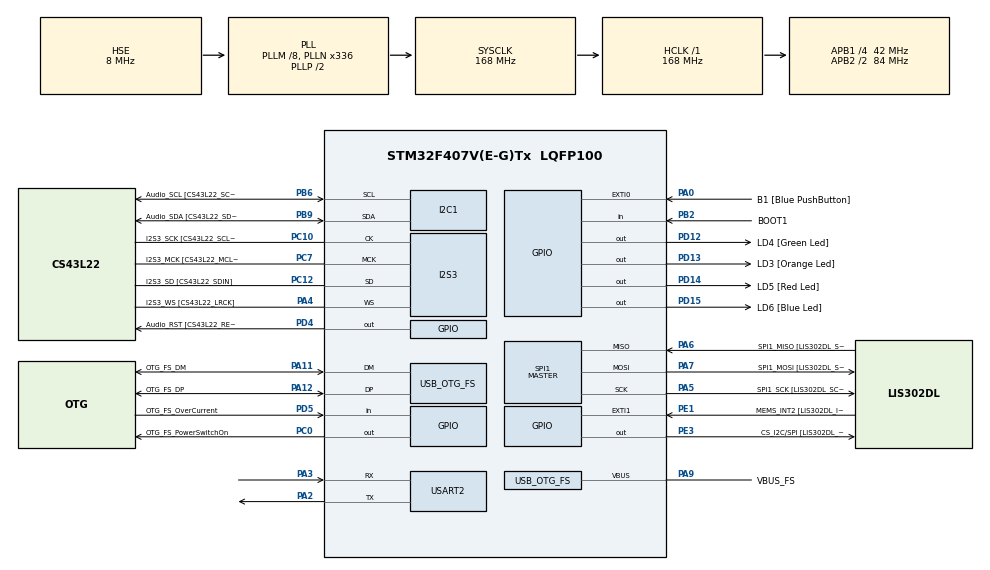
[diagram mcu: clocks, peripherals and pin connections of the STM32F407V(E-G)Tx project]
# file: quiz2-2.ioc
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FREERTOS.Tasks01=defaultTask,0,128,StartDefaultTask,Default,NULL
I2S3.AudioFreq-Half_Duplex_Master=I2S_AUDIOFREQ_96K
I2S3.ErrorAudioFreq=-2.34 %
I2S3.ErrorAudioFreq-Half_Duplex_Master=0.8 %
I2S3.FullDuplexMode=I2S_FULLDUPLEXMODE_DISABLE
I2S3.Instance=SPI$Index
I2S3.RealAudioFreq=93.75 KHz
I2S3.RealAudioFreq-Half_Duplex_Master=96.774 KHz
I2S3.VirtualMode=I2S_MODE_MASTER
Mcu.Family=STM32F4
Mcu.Name=STM32F407V(E-G)Tx
Mcu.Package=LQFP100
NVIC.OTG_FS_IRQn=true\:5\:0\:false\:false\:true\:true\:true\:true
NVIC.PriorityGroup=NVIC_PRIORITYGROUP_4
PA0-WKUP.GPIO_Label=B1 [Blue PushButton]
PA0-WKUP.GPIO_ModeDefaultEXTI=GPIO_MODE_EVT_RISING
PA0-WKUP.GPIO_PuPd=GPIO_NOPULL
PA0-WKUP.Signal=GPXTI0
PA10.GPIO_Label=OTG_FS_ID
PA10.GPIO_Mode=GPIO_MODE_AF_PP
PA10.GPIO_PuPd=GPIO_NOPULL
PA10.GPIO_Speed=GPIO_SPEED_FREQ_LOW
PA10.Signal=USB_OTG_FS_ID
PA11.GPIO_Label=OTG_FS_DM
PA11.GPIO_Mode=GPIO_MODE_AF_PP
PA11.GPIO_PuPd=GPIO_NOPULL
PA11.GPIO_Speed=GPIO_SPEED_FREQ_LOW
PA11.Mode=Host_Only
PA11.Signal=USB_OTG_FS_DM
PA12.GPIO_Label=OTG_FS_DP
PA12.GPIO_Mode=GPIO_MODE_AF_PP
PA12.GPIO_PuPd=GPIO_NOPULL
PA12.GPIO_Speed=GPIO_SPEED_FREQ_LOW
PA12.Mode=Host_Only
PA12.Signal=USB_OTG_FS_DP
PA13.GPIO_Label=SWDIO
PA13.Mode=Serial_Wire
PA13.Signal=SYS_JTMS-SWDIO
PA14.GPIO_Label=SWCLK
PA14.Mode=Serial_Wire
PA14.Signal=SYS_JTCK-SWCLK
PA2.Mode=Asynchronous
PA2.Signal=USART2_TX
PA3.Mode=Asynchronous
PA3.Signal=USART2_RX
PA4.GPIO_Label=I2S3_WS [CS43L22_LRCK]
PA4.GPIO_Mode=GPIO_MODE_AF_PP
PA4.GPIO_PuPd=GPIO_NOPULL
PA4.GPIO_Speed=GPIO_SPEED_FREQ_LOW
PA4.Mode=Half_Duplex_Master
PA4.Signal=I2S3_WS
PA5.GPIO_Label=SPI1_SCK [LIS302DL_SCL/SPC]
PA5.GPIO_Mode=GPIO_MODE_AF_PP
PA5.GPIO_PuPd=GPIO_NOPULL
PA5.GPIO_Speed=GPIO_SPEED_FREQ_LOW
PA5.Mode=Full_Duplex_Master
PA5.Signal=SPI1_SCK
PA6.GPIO_Label=SPI1_MISO [LIS302DL_SDO]
PA6.GPIO_Mode=GPIO_MODE_AF_PP
PA6.GPIO_PuPd=GPIO_NOPULL
PA6.GPIO_Speed=GPIO_SPEED_FREQ_LOW
PA6.Mode=Full_Duplex_Master
PA6.Signal=SPI1_MISO
PA7.GPIO_Label=SPI1_MOSI [LIS302DL_SDA/SDI/SDO]
PA7.GPIO_Mode=GPIO_MODE_AF_PP
PA7.GPIO_PuPd=GPIO_NOPULL
PA7.GPIO_Speed=GPIO_SPEED_FREQ_LOW
PA7.Mode=Full_Duplex_Master
PA7.Signal=SPI1_MOSI
PA9.GPIO_Label=VBUS_FS
PA9.GPIO_Mode=GPIO_MODE_INPUT
PA9.GPIO_PuPd=GPIO_NOPULL
PA9.Mode=Activate_VBUS
PA9.Signal=USB_OTG_FS_VBUS
PB10.GPIO_Label=CLK_IN [MP45DT02_CLK]
PB10.GPIO_Mode=GPIO_MODE_AF_PP
PB10.GPIO_PuPd=GPIO_NOPULL
PB10.GPIO_Speed=GPIO_SPEED_FREQ_LOW
PB10.Signal=I2S2_CK
PB2.GPIO_Label=BOOT1
PB2.GPIO_Mode=GPIO_MODE_INPUT
PB2.GPIO_PuPd=GPIO_NOPULL
PB2.Signal=GPIO_Input
PB3.GPIO_Label=SWO
PB3.Signal=SYS_JTDO-SWO
PB6.GPIO_Label=Audio_SCL [CS43L22_SCL]
PB6.GPIO_Mode=GPIO_MODE_AF_OD
PB6.GPIO_PuPd=GPIO_NOPULL
PB6.GPIO_Speed=GPIO_SPEED_FREQ_LOW
PB6.Mode=I2C
PB6.Signal=I2C1_SCL
PB9.GPIO_Label=Audio_SDA [CS43L22_SDA]
PB9.GPIO_Mode=GPIO_MODE_AF_OD
PB9.GPIO_PuPd=GPIO_NOPULL
PB9.GPIO_Speed=GPIO_SPEED_FREQ_LOW
PB9.Mode=I2C
PB9.Signal=I2C1_SDA
PC0.GPIO_Label=OTG_FS_PowerSwitchOn
PC0.GPIO_PuPd=GPIO_NOPULL
PC0.GPIO_Speed=GPIO_SPEED_FREQ_LOW
PC0.PinState=GPIO_PIN_SET
PC0.Signal=GPIO_Output
PC10.GPIO_Label=I2S3_SCK [CS43L22_SCLK]
PC10.GPIO_Mode=GPIO_MODE_AF_PP
PC10.GPIO_PuPd=GPIO_NOPULL
PC10.GPIO_Speed=GPIO_SPEED_FREQ_LOW
PC10.Mode=Half_Duplex_Master
PC10.Signal=I2S3_CK
PC12.GPIO_Label=I2S3_SD [CS43L22_SDIN]
PC12.GPIO_Mode=GPIO_MODE_AF_PP
PC12.GPIO_PuPd=GPIO_NOPULL
PC12.GPIO_Speed=GPIO_SPEED_FREQ_LOW
PC12.Mode=Half_Duplex_Master
PC12.Signal=I2S3_SD
PC14-OSC32_IN.GPIO_Label=PC14-OSC32_IN
PC14-OSC32_IN.Mode=LSE-External-Oscillator
PC14-OSC32_IN.Signal=RCC_OSC32_IN
PC15-OSC32_OUT.GPIO_Label=PC15-OSC32_OUT
PC15-OSC32_OUT.Mode=LSE-External-Oscillator
PC15-OSC32_OUT.Signal=RCC_OSC32_OUT
PC3.GPIO_Label=PDM_OUT [MP45DT02_DOUT]
PC3.GPIO_Mode=GPIO_MODE_AF_PP
PC3.GPIO_PuPd=GPIO_NOPULL
PC3.GPIO_Speed=GPIO_SPEED_FREQ_LOW
PC3.Signal=I2S2_SD
PC7.GPIO_Label=I2S3_MCK [CS43L22_MCLK]
PC7.GPIO_Mode=GPIO_MODE_AF_PP
PC7.GPIO_PuPd=GPIO_NOPULL
PC7.GPIO_Speed=GPIO_SPEED_FREQ_LOW
PC7.Mode=Master_Clock_Activated
PC7.Signal=I2S3_MCK
PD12.GPIO_Label=LD4 [Green Led]
PD12.GPIO_PuPd=GPIO_NOPULL
PD12.GPIO_Speed=GPIO_SPEED_FREQ_LOW
PD12.Signal=GPIO_Output
PD13.GPIO_Label=LD3 [Orange Led]
PD13.GPIO_PuPd=GPIO_NOPULL
PD13.GPIO_Speed=GPIO_SPEED_FREQ_LOW
PD13.Signal=GPIO_Output
PD14.GPIO_Label=LD5 [Red Led]
PD14.GPIO_PuPd=GPIO_NOPULL
PD14.GPIO_Speed=GPIO_SPEED_FREQ_LOW
PD14.Signal=GPIO_Output
PD15.GPIO_Label=LD6 [Blue Led]
PD15.GPIO_PuPd=GPIO_NOPULL
PD15.GPIO_Speed=GPIO_SPEED_FREQ_LOW
PD15.Signal=GPIO_Output
PD4.GPIO_Label=Audio_RST [CS43L22_RESET]
PD4.GPIO_PuPd=GPIO_NOPULL
PD4.GPIO_Speed=GPIO_SPEED_FREQ_LOW
PD4.Signal=GPIO_Output
PD5.GPIO_Label=OTG_FS_OverCurrent
PD5.GPIO_Mode=GPIO_MODE_INPUT
PD5.GPIO_PuPd=GPIO_NOPULL
PD5.Signal=GPIO_Input
PE1.GPIO_Label=MEMS_INT2 [LIS302DL_INT2]
PE1.GPIO_ModeDefaultEXTI=GPIO_MODE_EVT_RISING
PE1.GPIO_PuPd=GPIO_NOPULL
PE1.Signal=GPXTI1
PE3.GPIO_Label=CS_I2C/SPI [LIS302DL_CS_I2C/SPI]
PE3.GPIO_PuPd=GPIO_NOPULL
PE3.GPIO_Speed=GPIO_SPEED_FREQ_LOW
PE3.Signal=GPIO_Output
PH0-OSC_IN.GPIO_Label=PH0-OSC_IN
PH0-OSC_IN.Mode=HSE-External-Oscillator
PH0-OSC_IN.Signal=RCC_OSC_IN
PH1-OSC_OUT.GPIO_Label=PH1-OSC_OUT
PH1-OSC_OUT.Mode=HSE-External-Oscillator
PH1-OSC_OUT.Signal=RCC_OSC_OUT
ProjectManager.HeapSize=0x200
ProjectManager.StackSize=0x400
ProjectManager.TargetToolchain=STM32CubeIDE
RCC.48MHZClocksFreq_Value=48000000
RCC.AHBFreq_Value=168000000
RCC.APB1CLKDivider=RCC_HCLK_DIV4
RCC.APB1Freq_Value=42000000
RCC.APB1TimFreq_Value=84000000
RCC.APB2CLKDivider=RCC_HCLK_DIV2
RCC.APB2Freq_Value=84000000
RCC.APB2TimFreq_Value=168000000
RCC.CortexFreq_Value=168000000
RCC.HCLKFreq_Value=168000000
RCC.HSE_VALUE=8000000
RCC.HSI_VALUE=16000000
RCC.PLLM=8
RCC.PLLN=336
RCC.PLLQ=7
RCC.SYSCLKFreq_VALUE=168000000
RCC.SYSCLKSource=RCC_SYSCLKSOURCE_PLLCLK
RCC.VCOOutputFreq_Value=336000000
SPI1.BaudRatePrescaler-Full_Duplex_Master=SPI_BAUDRATEPRESCALER_2
SPI1.CalculateBaudRate-Full_Duplex_Master=42.0 MBits/s
SPI1.Direction=SPI_DIRECTION_2LINES
SPI1.Mode=SPI_MODE_MASTER
SPI1.Mode-Full_Duplex_Master=SPI_MODE_MASTER
SPI1.VirtualType=VM_MASTER
USART2.VirtualMode=VM_ASYNC
USB_HOST.BSP.number=1
USB_HOST.USBH_HandleTypeDef-CDC_FS=hUsbHostFS
USB_HOST.USBH_USE_OS-CDC_FS=0
USB_HOST.VirtualModeFS=Cdc
USB_HOST0.BSP.STBoard=false
USB_HOST0.BSP.api=Unknown
USB_HOST0.BSP.i2caddr=0
USB_HOST0.BSP.i2creg=0
USB_HOST0.BSP.instance=PC0
USB_HOST0.BSP.ip=GPIO
USB_HOST0.BSP.mode=Output
USB_HOST0.BSP.name=Drive_VBUS_FS
USB_HOST0.BSP.solution=PC0
USB_OTG_FS.VirtualMode=Host_Only
USB_OTG_FS.phy_itface=HCD_PHY_EMBEDDED
VP_FREERTOS_VS_CMSIS_V1.Mode=CMSIS_V1
VP_USB_HOST_VS_USB_HOST_CDC_FS.Mode=CDC_FS
board=STM32F4DISCOVERY

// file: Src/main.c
/* USER CODE BEGIN Header */
/**
  ******************************************************************************
  * @file           : main.c
  * @brief          : Main program body
  ******************************************************************************
  * @attention
  *
  * <h2><center>&copy; Copyright (c) 2019 STMicroelectronics.
  * All rights reserved.</center></h2>
  *
  * This software component is licensed by ST under Ultimate Liberty license
  * SLA0044, the "License"; You may not use this file except in compliance with
  * the License. You may obtain a copy of the License at:
  *                             www.st.com/SLA0044
  *
  ******************************************************************************
  */
/* USER CODE END Header */

#include "main.h"
#include "cmsis_os.h"
#include "usb_host.h"

I2C_HandleTypeDef hi2c1;

I2S_HandleTypeDef hi2s3;

SPI_HandleTypeDef hspi1;

UART_HandleTypeDef huart2;

osThreadId defaultTaskHandle;

void SystemClock_Config(void);
static void MX_GPIO_Init(void);
static void MX_I2C1_Init(void);
static void MX_I2S3_Init(void);
static void MX_SPI1_Init(void);
static void MX_USART2_UART_Init(void);
void StartDefaultTask1(void const * argument);
void StartDefaultTask2(void const * argument);

int main(void)
{

  /* MCU Configuration--------------------------------------------------------*/

  /* Reset of all peripherals, Initializes the Flash interface and the Systick. */
  HAL_Init();

  /* Configure the system clock */
  SystemClock_Config();

  /* Initialize all configured peripherals */
  MX_GPIO_Init();
  MX_I2C1_Init();
  MX_I2S3_Init();
  MX_SPI1_Init();
  MX_USART2_UART_Init();

  /* Create the thread(s) */
  /* definition and creation of defaultTask */
  osThreadDef(defaultTask1, StartDefaultTask1, osPriorityNormal, 0, 128);
  defaultTaskHandle = osThreadCreate(osThread(defaultTask1), NULL);

  osThreadDef(defaultTask2, StartDefaultTask2, osPriorityNormal, 0, 128);
  defaultTaskHandle = osThreadCreate(osThread(defaultTask2), NULL);

  /* Start scheduler */
  osKernelStart();

  /* We should never get here as control is now taken by the scheduler */

  /* Infinite loop */
  while (1)
  {

  }
}

void SystemClock_Config(void)
{
  RCC_OscInitTypeDef RCC_OscInitStruct = {0};
  RCC_ClkInitTypeDef RCC_ClkInitStruct = {0};
  RCC_PeriphCLKInitTypeDef PeriphClkInitStruct = {0};

  /** Configure the main internal regulator output voltage
  */
  __HAL_RCC_PWR_CLK_ENABLE();
  __HAL_PWR_VOLTAGESCALING_CONFIG(PWR_REGULATOR_VOLTAGE_SCALE1);
  /** Initializes the CPU, AHB and APB busses clocks
  */
  RCC_OscInitStruct.OscillatorType = RCC_OSCILLATORTYPE_HSE;
  RCC_OscInitStruct.HSEState = RCC_HSE_ON;
  RCC_OscInitStruct.PLL.PLLState = RCC_PLL_ON;
  RCC_OscInitStruct.PLL.PLLSource = RCC_PLLSOURCE_HSE;
  RCC_OscInitStruct.PLL.PLLM = 8;
  RCC_OscInitStruct.PLL.PLLN = 336;
  RCC_OscInitStruct.PLL.PLLP = RCC_PLLP_DIV2;
  RCC_OscInitStruct.PLL.PLLQ = 7;
  if (HAL_RCC_OscConfig(&RCC_OscInitStruct) != HAL_OK)
  {
    Error_Handler();
  }
  /** Initializes the CPU, AHB and APB busses clocks
  */
  RCC_ClkInitStruct.ClockType = RCC_CLOCKTYPE_HCLK|RCC_CLOCKTYPE_SYSCLK
                              |RCC_CLOCKTYPE_PCLK1|RCC_CLOCKTYPE_PCLK2;
  RCC_ClkInitStruct.SYSCLKSource = RCC_SYSCLKSOURCE_PLLCLK;
  RCC_ClkInitStruct.AHBCLKDivider = RCC_SYSCLK_DIV1;
  RCC_ClkInitStruct.APB1CLKDivider = RCC_HCLK_DIV4;
  RCC_ClkInitStruct.APB2CLKDivider = RCC_HCLK_DIV2;

  if (HAL_RCC_ClockConfig(&RCC_ClkInitStruct, FLASH_LATENCY_5) != HAL_OK)
  {
    Error_Handler();
  }
  PeriphClkInitStruct.PeriphClockSelection = RCC_PERIPHCLK_I2S;
  PeriphClkInitStruct.PLLI2S.PLLI2SN = 192;
  PeriphClkInitStruct.PLLI2S.PLLI2SR = 2;
  if (HAL_RCCEx_PeriphCLKConfig(&PeriphClkInitStruct) != HAL_OK)
  {
    Error_Handler();
  }
}

static void MX_I2C1_Init(void)
{

  hi2c1.Instance = I2C1;
  hi2c1.Init.ClockSpeed = 100000;
  hi2c1.Init.DutyCycle = I2C_DUTYCYCLE_2;
  hi2c1.Init.OwnAddress1 = 0;
  hi2c1.Init.AddressingMode = I2C_ADDRESSINGMODE_7BIT;
  hi2c1.Init.DualAddressMode = I2C_DUALADDRESS_DISABLE;
  hi2c1.Init.OwnAddress2 = 0;
  hi2c1.Init.GeneralCallMode = I2C_GENERALCALL_DISABLE;
  hi2c1.Init.NoStretchMode = I2C_NOSTRETCH_DISABLE;
  if (HAL_I2C_Init(&hi2c1) != HAL_OK)
  {
    Error_Handler();
  }

}

static void MX_I2S3_Init(void)
{

  hi2s3.Instance = SPI3;
  hi2s3.Init.Mode = I2S_MODE_MASTER_TX;
  hi2s3.Init.Standard = I2S_STANDARD_PHILIPS;
  hi2s3.Init.DataFormat = I2S_DATAFORMAT_16B;
  hi2s3.Init.MCLKOutput = I2S_MCLKOUTPUT_ENABLE;
  hi2s3.Init.AudioFreq = I2S_AUDIOFREQ_96K;
  hi2s3.Init.CPOL = I2S_CPOL_LOW;
  hi2s3.Init.ClockSource = I2S_CLOCK_PLL;
  hi2s3.Init.FullDuplexMode = I2S_FULLDUPLEXMODE_DISABLE;
  if (HAL_I2S_Init(&hi2s3) != HAL_OK)
  {
    Error_Handler();
  }

}

static void MX_SPI1_Init(void)
{

  /* SPI1 parameter configuration*/
  hspi1.Instance = SPI1;
  hspi1.Init.Mode = SPI_MODE_MASTER;
  hspi1.Init.Direction = SPI_DIRECTION_2LINES;
  hspi1.Init.DataSize = SPI_DATASIZE_8BIT;
  hspi1.Init.CLKPolarity = SPI_POLARITY_LOW;
  hspi1.Init.CLKPhase = SPI_PHASE_1EDGE;
  hspi1.Init.NSS = SPI_NSS_SOFT;
  hspi1.Init.BaudRatePrescaler = SPI_BAUDRATEPRESCALER_2;
  hspi1.Init.FirstBit = SPI_FIRSTBIT_MSB;
  hspi1.Init.TIMode = SPI_TIMODE_DISABLE;
  hspi1.Init.CRCCalculation = SPI_CRCCALCULATION_DISABLE;
  hspi1.Init.CRCPolynomial = 10;
  if (HAL_SPI_Init(&hspi1) != HAL_OK)
  {
    Error_Handler();
  }

}

static void MX_USART2_UART_Init(void)
{

  huart2.Instance = USART2;
  huart2.Init.BaudRate = 115200;
  huart2.Init.WordLength = UART_WORDLENGTH_8B;
  huart2.Init.StopBits = UART_STOPBITS_1;
  huart2.Init.Parity = UART_PARITY_NONE;
  huart2.Init.Mode = UART_MODE_TX_RX;
  huart2.Init.HwFlowCtl = UART_HWCONTROL_NONE;
  huart2.Init.OverSampling = UART_OVERSAMPLING_16;
  if (HAL_UART_Init(&huart2) != HAL_OK)
  {
    Error_Handler();
  }

}

static void MX_GPIO_Init(void)
{
  GPIO_InitTypeDef GPIO_InitStruct = {0};

  /* GPIO Ports Clock Enable */
  __HAL_RCC_GPIOE_CLK_ENABLE();
  __HAL_RCC_GPIOC_CLK_ENABLE();
  __HAL_RCC_GPIOH_CLK_ENABLE();
  __HAL_RCC_GPIOA_CLK_ENABLE();
  __HAL_RCC_GPIOB_CLK_ENABLE();
  __HAL_RCC_GPIOD_CLK_ENABLE();

  /*Configure GPIO pin Output Level */
  HAL_GPIO_WritePin(CS_I2C_SPI_GPIO_Port, CS_I2C_SPI_Pin, GPIO_PIN_RESET);

  /*Configure GPIO pin Output Level */
  HAL_GPIO_WritePin(OTG_FS_PowerSwitchOn_GPIO_Port, OTG_FS_PowerSwitchOn_Pin, GPIO_PIN_SET);

  /*Configure GPIO pin Output Level */
  HAL_GPIO_WritePin(GPIOD, LD4_Pin|LD3_Pin|LD5_Pin|LD6_Pin
                          |Audio_RST_Pin, GPIO_PIN_RESET);

  /*Configure GPIO pin : CS_I2C_SPI_Pin */
  GPIO_InitStruct.Pin = CS_I2C_SPI_Pin;
  GPIO_InitStruct.Mode = GPIO_MODE_OUTPUT_PP;
  GPIO_InitStruct.Pull = GPIO_NOPULL;
  GPIO_InitStruct.Speed = GPIO_SPEED_FREQ_LOW;
  HAL_GPIO_Init(CS_I2C_SPI_GPIO_Port, &GPIO_InitStruct);

  /*Configure GPIO pin : OTG_FS_PowerSwitchOn_Pin */
  GPIO_InitStruct.Pin = OTG_FS_PowerSwitchOn_Pin;
  GPIO_InitStruct.Mode = GPIO_MODE_OUTPUT_PP;
  GPIO_InitStruct.Pull = GPIO_NOPULL;
  GPIO_InitStruct.Speed = GPIO_SPEED_FREQ_LOW;
  HAL_GPIO_Init(OTG_FS_PowerSwitchOn_GPIO_Port, &GPIO_InitStruct);

  /*Configure GPIO pin : PDM_OUT_Pin */
  GPIO_InitStruct.Pin = PDM_OUT_Pin;
  GPIO_InitStruct.Mode = GPIO_MODE_AF_PP;
  GPIO_InitStruct.Pull = GPIO_NOPULL;
  GPIO_InitStruct.Speed = GPIO_SPEED_FREQ_LOW;
  GPIO_InitStruct.Alternate = GPIO_AF5_SPI2;
  HAL_GPIO_Init(PDM_OUT_GPIO_Port, &GPIO_InitStruct);

  /*Configure GPIO pin : B1_Pin */
  GPIO_InitStruct.Pin = B1_Pin;
  GPIO_InitStruct.Mode = GPIO_MODE_EVT_RISING;
  GPIO_InitStruct.Pull = GPIO_NOPULL;
  HAL_GPIO_Init(B1_GPIO_Port, &GPIO_InitStruct);

  /*Configure GPIO pin : BOOT1_Pin */
  GPIO_InitStruct.Pin = BOOT1_Pin;
  GPIO_InitStruct.Mode = GPIO_MODE_INPUT;
  GPIO_InitStruct.Pull = GPIO_NOPULL;
  HAL_GPIO_Init(BOOT1_GPIO_Port, &GPIO_InitStruct);

  /*Configure GPIO pin : CLK_IN_Pin */
  GPIO_InitStruct.Pin = CLK_IN_Pin;
  GPIO_InitStruct.Mode = GPIO_MODE_AF_PP;
  GPIO_InitStruct.Pull = GPIO_NOPULL;
  GPIO_InitStruct.Speed = GPIO_SPEED_FREQ_LOW;
  GPIO_InitStruct.Alternate = GPIO_AF5_SPI2;
  HAL_GPIO_Init(CLK_IN_GPIO_Port, &GPIO_InitStruct);

  /*Configure GPIO pins : LD4_Pin LD3_Pin LD5_Pin LD6_Pin
                           Audio_RST_Pin */
  GPIO_InitStruct.Pin = LD4_Pin|LD3_Pin|LD5_Pin|LD6_Pin
                          |Audio_RST_Pin;
  GPIO_InitStruct.Mode = GPIO_MODE_OUTPUT_PP;
  GPIO_InitStruct.Pull = GPIO_NOPULL;
  GPIO_InitStruct.Speed = GPIO_SPEED_FREQ_LOW;
  HAL_GPIO_Init(GPIOD, &GPIO_InitStruct);

  /*Configure GPIO pin : OTG_FS_OverCurrent_Pin */
  GPIO_InitStruct.Pin = OTG_FS_OverCurrent_Pin;
  GPIO_InitStruct.Mode = GPIO_MODE_INPUT;
  GPIO_InitStruct.Pull = GPIO_NOPULL;
  HAL_GPIO_Init(OTG_FS_OverCurrent_GPIO_Port, &GPIO_InitStruct);

  /*Configure GPIO pin : MEMS_INT2_Pin */
  GPIO_InitStruct.Pin = MEMS_INT2_Pin;
  GPIO_InitStruct.Mode = GPIO_MODE_EVT_RISING;
  GPIO_InitStruct.Pull = GPIO_NOPULL;
  HAL_GPIO_Init(MEMS_INT2_GPIO_Port, &GPIO_InitStruct);

}

void StartDefaultTask1(void const * argument)
{

  /* init code for USB_HOST */
  MX_USB_HOST_Init();

  /* USER CODE BEGIN 5 */
  /* Infinite loop */
  for(;;)
  {

		  HAL_GPIO_TogglePin(GPIOD, GPIO_PIN_12);
		  HAL_GPIO_TogglePin(GPIOD, GPIO_PIN_14);
		  osDelay(50);

  }
  /* USER CODE END 5 */
}

void StartDefaultTask2(void const * argument)
{

   char b1[20] = "Rattapong\r\n";
   char b2[20] = "Whangthamromgwit\r\n";
   int st = 0;
   int isPress = 0;
   int counter = 0;

  /* init code for USB_HOST */
  MX_USB_HOST_Init();

  /* USER CODE BEGIN 5 */
  /* Infinite loop */
  for(;;)
  {

	  if (HAL_GPIO_ReadPin(GPIOA, GPIO_PIN_0)) {
		  //HAL_GPIO_TogglePin(GPIOD, GPIO_PIN_15);
		  if (isPress == 0) {
			  isPress = 1;
			  if (st == 0) {
				  st = 1;
			  } else if (st == 1) {
				  st = 0;
			  }
		  }
	  } else {
		  isPress = 0;
	  }

	  if (st == 0) {
		  if (counter % 1000 == 0) {
			  HAL_UART_Transmit(&huart2, b1, sizeof(b1), HAL_MAX_DELAY);
		  }
	  } else if (st == 1) {
		  if (counter % 500 == 0) {
			  HAL_UART_Transmit(&huart2, b2, sizeof(b2), HAL_MAX_DELAY);
		  }
	  }

	  counter += 50;
	  osDelay(50);
  }
  /* USER CODE END 5 */
}

void Error_Handler(void)
{
}

/************************ (C) COPYRIGHT STMicroelectronics *****END OF FILE****/
